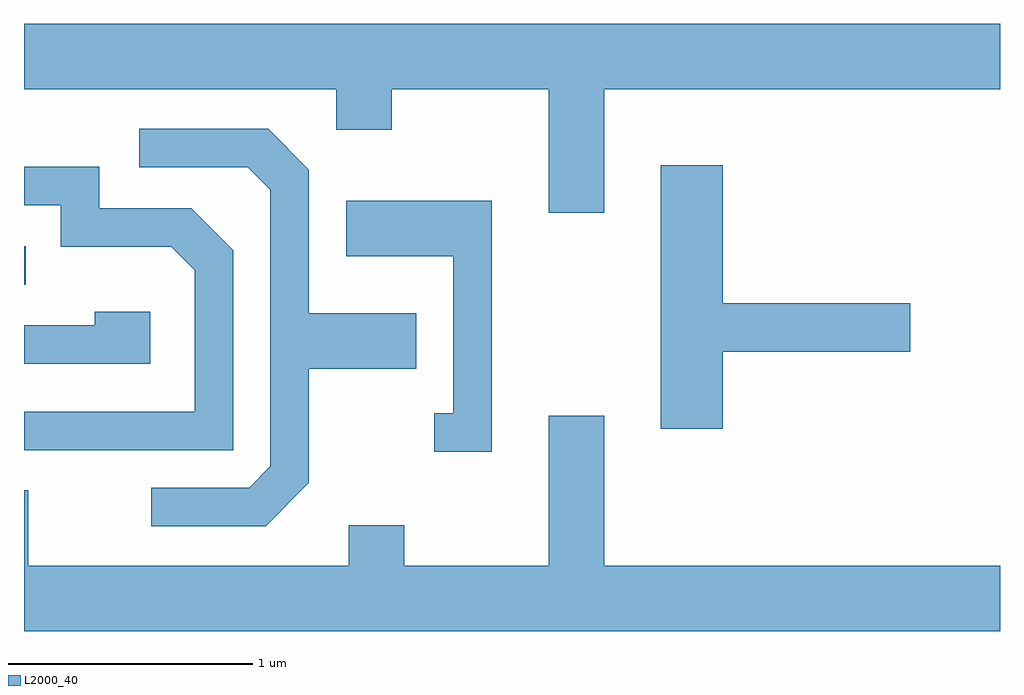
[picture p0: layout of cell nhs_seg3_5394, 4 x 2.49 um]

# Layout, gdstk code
import gdstk
lib = gdstk.Library(unit=1e-6, precision=1e-09)
def R(c, l, rs):  # rectangles x0, y0, x1, y1
    for r in rs: c.add(gdstk.rectangle(r[:2], r[2:], *l))
def P(c, l, *ps):  # polygons
    for p in ps: c.add(gdstk.Polygon(p, *l))
L2000_40 = (2000, 40)

nhs_seg3_5394 = lib.new_cell('nhs_seg3_5394')
R(nhs_seg3_5394, L2000_40, [(343.611,1169.616,343.618,1169.774)])
P(nhs_seg3_5394, L2000_40, [(345.989,1170.416),(347.611,1170.416),(347.611,1170.684),(343.611,1170.684),(343.611,1170.416),(344.891,1170.416),(344.891,1170.251),(345.119,1170.251),(345.119,1170.416),(345.761,1170.416),(345.761,1169.911),(345.989,1169.911)],
  [(344.779,1168.804),(344.779,1169.271),(345.219,1169.271),(345.219,1169.499),(344.779,1169.499),(344.779,1170.087),(344.612,1170.254),(344.083,1170.254),(344.083,1170.096),(344.529,1170.096),(344.621,1170.004),(344.621,1168.872),(344.534,1168.784),(344.133,1168.784),(344.133,1168.626),(344.602,1168.626)],
  [(346.474,1169.341),(347.244,1169.341),(347.244,1169.539),(346.474,1169.539),(346.474,1170.104),(346.221,1170.104),(346.221,1169.026),(346.474,1169.026)],
  [(344.469,1169.757),(344.297,1169.929),(343.919,1169.929),(343.919,1170.099),(343.611,1170.099),(343.611,1169.941),(343.761,1169.941),(343.761,1169.771),(344.214,1169.771),(344.311,1169.674),(344.311,1169.094),(343.611,1169.094),(343.611,1168.936),(344.469,1168.936)],
  [(345.529,1169.959),(344.931,1169.959),(344.931,1169.731),(345.371,1169.731),(345.371,1169.089),(345.293,1169.089),(345.293,1168.931),(345.529,1168.931)],
  [(344.129,1169.504),(343.901,1169.504),(343.901,1169.449),(343.611,1169.449),(343.611,1169.291),(344.129,1169.291)],
  [(347.611,1168.464),(345.989,1168.464),(345.989,1169.079),(345.761,1169.079),(345.761,1168.464),(345.169,1168.464),(345.169,1168.629),(344.941,1168.629),(344.941,1168.464),(343.629,1168.464),(343.629,1168.774),(343.611,1168.774),(343.611,1168.196),(347.611,1168.196)])

lib.write_gds('nhs_seg3_5394.gds')
